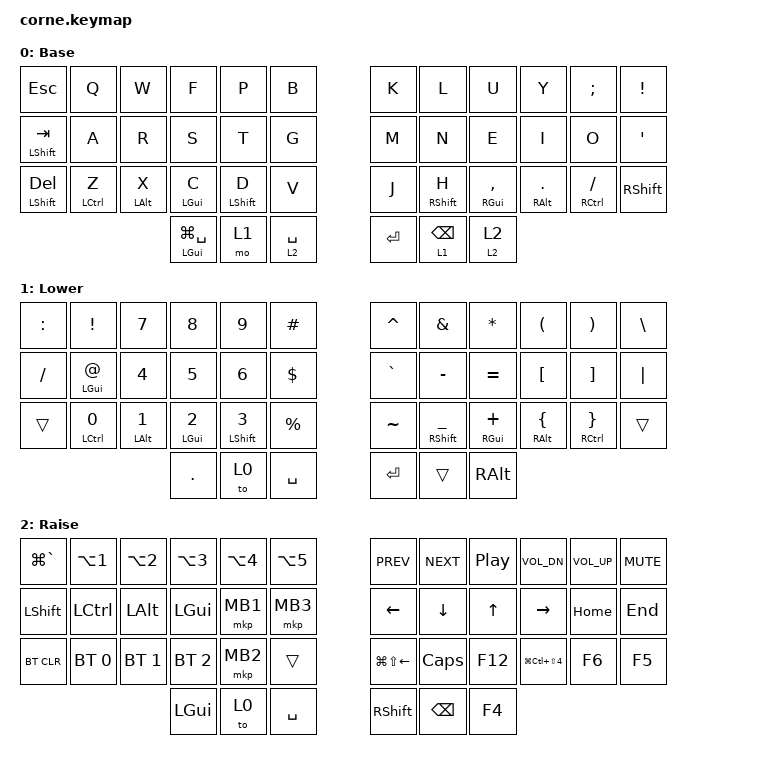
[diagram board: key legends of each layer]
/*
 * Copyright (c) 2020 The ZMK Contributors
 *
 * SPDX-License-Identifier: MIT
 */

#include <behaviors.dtsi>
#include <dt-bindings/zmk/bt.h>
#include <dt-bindings/zmk/keys.h>
#include <dt-bindings/zmk/mouse.h>

&mt {
    flavor = "balanced";
    tapping-term-ms = <180>;
};

/ {
    combos {
        compatible = "zmk,combos";

        quickESC {
            bindings = <&kp ESC>;
            key-positions = <37 40>;
        };

        ezcopy {
            bindings = <&copy>;
            key-positions = <2 3>;
        };

        ezpaste {
            bindings = <&paste>;
            key-positions = <14 15>;
        };

        ezcolon {
            bindings = <&kp COLON>;
            key-positions = <15 20>;
        };

        unformattedPaste {
            bindings = <&unformPaste>;
            key-positions = <37 13>;
        };
    };

    macros {
        copy: copy {
            compatible = "zmk,behavior-macro";
            #binding-cells = <0>;
            bindings =
                <&macro_press>,
                <&kp LEFT_GUI>,
                <&macro_tap>,
                <&kp C>,
                <&macro_release>,
                <&kp LEFT_GUI>;

            label = "COPY";
        };

        paste: paste {
            compatible = "zmk,behavior-macro";
            #binding-cells = <0>;
            bindings =
                <&macro_press>,
                <&kp LEFT_GUI>,
                <&macro_tap>,
                <&kp V>,
                <&macro_release>,
                <&kp LEFT_GUI>;

            label = "PASTE";
        };

        unformPaste: unformPaste {
            compatible = "zmk,behavior-macro";
            #binding-cells = <0>;
            bindings =
                <&macro_press>,
                <&kp LEFT_GUI &kp LEFT_ALT &kp LSHFT>,
                <&macro_tap>,
                <&kp V>,
                <&macro_release>,
                <&kp LEFT_GUI &kp LEFT_ALT &kp LSHFT>;

            label = "UNFORMPASTE";
        };
    };

    behaviors {
        taptog: taptog {
            compatible = "zmk,behavior-hold-tap";
            label = "TAPTOG";
            bindings = <&mo>, <&tog>;

            #binding-cells = <2>;
            tapping-term-ms = <170>;
        };

        th: th {
            compatible = "zmk,behavior-hold-tap";
            label = "TH";
            bindings = <&kp>, <&kp>;

            #binding-cells = <2>;
            tapping-term-ms = <180>;
        };

        tlwr: tlwr {
            compatible = "zmk,behavior-tap-dance";
            label = "TLWR";
            #binding-cells = <0>;
            bindings = <&none>, <&to 1>;
        };
    };

    keymap {
        compatible = "zmk,keymap";

        default_layer {
            // yeah i didn't bother to fix the comment keymap
            // -----------------------------------------------------------------------------------------
            // |  TAB |  Q  |  W  |  E  |  R  |  T  |   |  Y  |  U   |  I  |  O  |  P  | BKSP |
            // | CTRL |  A  |  S  |  D  |  F  |  G  |   |  H  |  J   |  K  |  L  |  ;  |  '   |
            // | SHFT |  Z  |  X  |  C  |  V  |  B  |   |  N  |  M   |  ,  |  .  |  /  | ESC  |
            //                    | GUI | LWR | SPC |   | ENT | RSE  | ALT |

            label = "Base";
            bindings = <
&kp ESC        &kp Q        &kp W       &kp F               &kp P        &kp B          &kp K    &kp L            &kp U           &kp Y         &kp SEMI         &kp EXCL
&mt LSHFT TAB  &kp A        &kp R       &kp S               &kp T        &kp G          &kp M    &kp N            &kp E           &kp I         &kp O            &kp SQT
&mt LSHFT DEL  &mt LCTRL Z  &mt LALT X  &mt LGUI C          &mt LSHFT D  &kp V          &kp J    &mt RSHFT H      &mt RGUI COMMA  &mt RALT DOT  &mt RCTRL SLASH  &kp RSHFT
                                        &th LGUI LG(SPACE)  &mo 1        &lt 2 SPACE    &kp RET  &lt 1 BACKSPACE  &taptog 2 2
            >;
        };

        lower_layer {
            // -----------------------------------------------------------------------------------------
            // |  TAB |  1  |  2  |  3  |  4  |  5  |   |  6  |  7  |  8  |  9  |  0  | BKSP |
            // | BTCLR| BT1 | BT2 | BT3 | BT4 | BT5 |   | LFT | DWN |  UP | RGT |     |      |
            // | SHFT |     |     |     |     |     |   |     |     |     |     |     |      |
            //                    | GUI |     | SPC |   | ENT |     | ALT |

            label = "Lower";
            bindings = <
&kp COLON  &kp EXCL      &kp N7       &kp N8       &kp N9        &kp HASH     &kp CARET  &kp AMPS         &kp ASTRK      &kp LPAR       &kp RPAR        &kp BSLH
&kp SLASH  &mt LGUI AT   &kp N4       &kp N5       &kp N6        &kp DLLR     &kp GRAVE  &kp MINUS        &kp EQUAL      &kp LBKT       &kp RBKT        &kp PIPE
&trans     &mt LCTRL N0  &mt LALT N1  &mt LGUI N2  &mt LSHFT N3  &kp PRCNT    &kp TILDE  &mt RSHFT UNDER  &mt RGUI PLUS  &mt RALT LBRC  &mt RCTRL RBRC  &trans
                         &kp DOT      &to 0        &kp SPACE     &kp RET      &trans     &kp RALT
            >;
        };

        raise_layer {
            // -----------------------------------------------------------------------------------------
            // |  TAB |  !  |  @  |  #  |  $  |  %  |   |  ^  |  &  |  *  |  (  |  )  | BKSP |
            // | CTRL |     |     |     |     |     |   |  -  |  =  |  [  |  ]  |  \  |  `   |
            // | SHFT |     |     |     |     |     |   |  _  |  +  |  {  |  }  | "|" |  ~   |
            //                    | GUI |     | SPC |   | ENT |     | ALT |

            label = "Raise";
            bindings = <
&kp LG(GRAVE)  &kp LA(N1)    &kp LA(N2)    &kp LA(N3)    &kp LA(N4)  &kp LA(N5)    &kp C_PREV        &kp C_NEXT     &kp C_PLAY_PAUSE  &kp C_VOL_DN              &kp C_VOL_UP  &kp C_MUTE
&kp LSHIFT     &kp LCTRL     &kp LALT      &kp LGUI      &mkp MB1    &mkp MB3      &kp LEFT          &kp DOWN       &kp UP            &kp RIGHT                 &kp HOME      &kp END
&bt BT_CLR     &bt BT_SEL 0  &bt BT_SEL 1  &bt BT_SEL 2  &mkp MB2    &trans        &kp LG(LS(LEFT))  &kp CAPS       &kp F12           &kp LG(LC(LS(NUMBER_4)))  &kp F6        &kp F5
                                           &kp LGUI      &to 0       &kp SPACE     &kp RSHFT         &kp BACKSPACE  &kp F4
            >;
        };
    };
};
